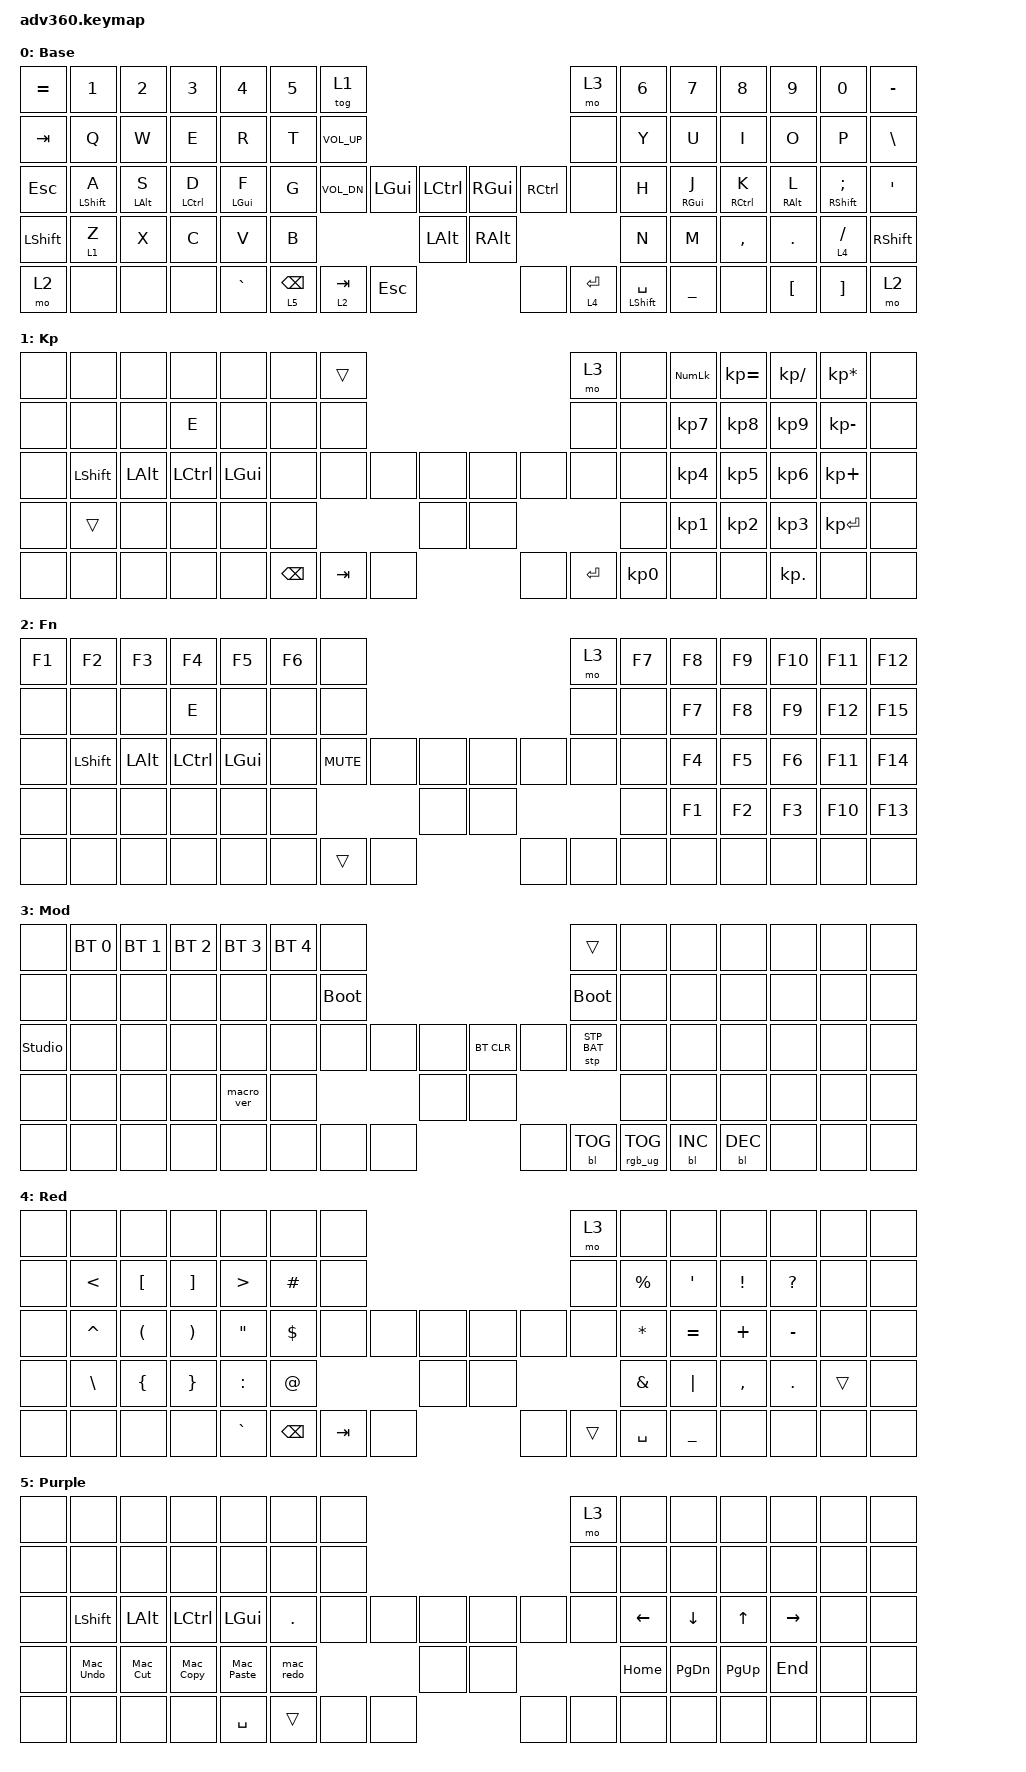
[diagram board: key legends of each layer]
#include <behaviors.dtsi>
#include <dt-bindings/zmk/keys.h>
#include <dt-bindings/zmk/bt.h>
#include <dt-bindings/zmk/rgb.h>
#include <dt-bindings/zmk/stp.h>
#include <dt-bindings/zmk/backlight.h>
#include <dt-bindings/zmk/pointing.h>
#include <dt-bindings/zmk/behaviors.h>

#define KEYS_L   0  1  2  3  4  5  6 \
                14 15 16 17 18 19 20 \
                28 29 30 31 32 33 34 \
                46 47 48 49 50 51    \
                60 61 62 63 64

#define THUMBS_L     35 36 \
                           52 \
                     65 66 67 \

#define KEYS_R   7  8  9 10 11 12 13 \
                21 22 23 24 25 26 27 \
                39 40 41 42 43 44 45 \
                   54 55 56 57 58 59 \
                      71 72 73 74 75

#define THUMBS_R 37 38    \
                     53       \
                     68 69 70 \

/ {
    behaviors {
      #include "macros.dtsi"
      #include "version.dtsi"

      hml: home_row_mod_left {
            compatible = "zmk,behavior-hold-tap";
            #binding-cells = <2>;
            flavor = "balanced";
            require-prior-idle-ms = <150>;  // orignally set to 300 from zmk docs
            tapping-term-ms = <280>;
            quick-tap-ms = <175>;
            bindings = <&kp>, <&kp>;
            hold-trigger-key-positions = <KEYS_R THUMBS_L THUMBS_R>; // List of keys on the right side of the keyboard
            hold-trigger-on-release;
        };
        hmr: home_row_mod_right {
            compatible = "zmk,behavior-hold-tap";
            #binding-cells = <2>;
            flavor = "balanced";
            require-prior-idle-ms = <150>;  // orignally set to 300 from zmk docs
            tapping-term-ms = <280>;
            quick-tap-ms = <175>;
            bindings = <&kp>, <&kp>;
            hold-trigger-key-positions = <KEYS_L THUMBS_L THUMBS_R>; // List of keys on the left side of the keyboard
            hold-trigger-on-release;
        };

      hm: homerow_mods {
          compatible = "zmk,behavior-hold-tap";
          label = "HOMEROW_MODS";
          #binding-cells = <2>;
          tapping-term-ms = <200>;
          quick_tap_ms = <175>;
          flavor = "tap-preferred";
          bindings = <&kp>, <&kp>;
      };

      bspc_del: backspace_delete {
          compatible = "zmk,behavior-mod-morph";
          label = "BACKSPACE_DELETE";
          #binding-cells = <0>;
          bindings = <&kp BACKSPACE>, <&kp DELETE>;
          mods = <(MOD_LSFT|MOD_RSFT)>;
      };

      /* How to stack mod-morph and layer-tap: https://www.reddit.com/r/zmk/comments/12ujlmb/combing_modmorph_and_layer_tap/ */
      /* not using at the moment since shift backspace was annoying me */
      lt_bspc: layer_tap_bspc_del {
          compatible = "zmk,behavior-hold-tap";
          label = "LAYER_TAP_BACKSPACE_DELETE";
          #binding-cells = <2>;
          bindings = <&mo>, <&bspc_del>;
          tapping-term-ms = <200>;
      };

      qt_lt: quick_tap_layer_tap {
          compatible = "zmk,behavior-hold-tap";
          #binding-cells = <2>;
          flavor = "balanced";
          tapping-term-ms = <200>;
          quick-tap-ms = <300>;
          bindings = <&mo>, <&kp>;
          display-name = "Quick-Tap-Layer-Tap";
      };

      /*mac_copy: mac_copy {
          compatible = "zmk,behavior-macro";
          label = "MAC_COPY";
          #binding-cells = <0>;
          bindings = <&kp LG(C)>;
      };
      mac_paste: mac_paste {
          compatible = "zmk,behavior-macro";
          label = "MAC_PASTE";
          #binding-cells = <0>;
          bindings = <&kp LG(V)>;
      };
      mac_cut: mac_cut {
          compatible = "zmk,behavior-macro";
          label = "MAC_CUT";
          #binding-cells = <0>;
          bindings = <&kp LG(X)>;
      };
      mac_undo: mac_undo {
          compatible = "zmk,behavior-macro";
          label = "MAC_UNDO";
          #binding-cells = <0>;
          bindings = <&kp LG(Z)>;
      };*/
      mac_redo: mac_redo {
          compatible = "zmk,behavior-macro";
          label = "MAC_REDO";
          #binding-cells = <0>;
          bindings = <&kp LS(LG(Z))>;
      };
    };

  combos {
    compatible = "zmk,combos";
    combo_esc {
        timeout-ms = <50>;
        key-positions = <65 70>;
        bindings = <&kp ESC>;
    };
    combo_capsword {
        timeout-ms = <50>;
        key-positions = <29 44>;
        bindings = <&caps_word>;
    };
  };

  /* TODO: capsword*/
  keymap {
    compatible = "zmk,keymap";

    default_layer {
      display-name = "Base";

      bindings = <
        &kp EQUAL &kp N1        &kp N2      &kp N3       &kp N4      &kp N5 &tog 1                                                                                &mo 3 &kp N6 &kp N7      &kp N8       &kp N9      &kp N0           &kp MINUS
        &kp TAB   &kp Q         &kp W       &kp E        &kp R       &kp T  &kp C_VOL_UP                                                                          &none &kp Y  &kp U       &kp I        &kp O       &kp P            &kp BSLH
        &kp ESC   &hml LSHIFT A &hml LALT S &hml LCTRL D &hml LGUI F &kp G  &kp C_VOL_DN               &kp LGUI  &kp LCTRL &kp RGUI  &kp RCTRL                    &none &kp H  &hmr RGUI J &hmr RCTRL K &hmr RALT L &hmr RSHIFT SEMI &kp SQT
        &kp LSHFT &lt 1 Z       &kp X       &kp C        &kp V       &kp B                                       &kp LALT  &kp RALT                                     &kp N  &kp M       &kp COMMA    &kp DOT     &lt 4 FSLH       &kp RSHFT
        &mo 2     &none         &none       &none        &kp GRAVE                       &qt_lt 5 BSPC &lt 2 TAB &kp ESC   &none     &lt 4 ENTER &mt LSHIFT SPACE              &kp UNDER   &none        &kp LBKT    &kp RBKT         &mo 2
      >;

    };
    keypad { /* 1 */
      display-name = "Kp";
      bindings = <
        &none &none      &none    &none     &none    &none &trans                                                  &mo 3 &none &kp KP_NUM &kp KP_EQUAL &kp KP_DIVIDE &kp KP_MULTIPLY &none    
        &none &none      &none    &kp E     &none    &none &none                                                   &none &none &kp KP_N7  &kp KP_N8    &kp KP_N9     &kp KP_MINUS    &none   
        &none &kp LSHIFT &kp LALT &kp LCTRL &kp LGUI &none &none           &none   &none &none &none               &none &none &kp KP_N4  &kp KP_N5    &kp KP_N6     &kp KP_PLUS     &none  
        &none &trans     &none    &none     &none    &none                         &none &none                           &none &kp KP_N1  &kp KP_N2    &kp KP_N3     &kp KP_ENTER    &none    
        &none &none      &none    &none     &none              &kp BSPC &kp TAB &none &none &kp ENTER &kp KP_N0                &none      &none        &kp KP_DOT    &none           &none
      >;
    };
    fn { /* 2 */
      display-name = "Fn";
      bindings = <
        &kp F1 &kp F2     &kp F3   &kp F4    &kp F5   &kp F6 &none                                           &mo 3 &kp F7 &kp F8 &kp F9 &kp F10 &kp F11 &kp F12
        &none  &none      &none    &kp E     &none    &none  &none                                           &none &none  &kp F7 &kp F8 &kp F9  &kp F12 &kp F15
        &none  &kp LSHIFT &kp LALT &kp LCTRL &kp LGUI &none  &kp C_MUTE       &none  &none &none &none       &none &none  &kp F4 &kp F5 &kp F6  &kp F11 &kp F14
        &none  &none      &none    &none     &none    &none                          &none &none                   &none  &kp F1 &kp F2 &kp F3  &kp F10 &kp F13
        &none  &none      &none    &none     &none                      &none &trans &none &none &none &none              &none  &none  &none   &none   &none
      >;
    };
    mod { /* 3 */
      display-name = "Mod";
      bindings = <
        &none          &bt BT_SEL 0 &bt BT_SEL 1 &bt BT_SEL 2 &bt BT_SEL 3 &bt BT_SEL 4 &none                                                               &trans       &none        &none        &none        &none &none &none
        &none          &none        &none        &none        &none        &none        &bootloader                                                         &bootloader  &none        &none        &none        &none &none &none
        &studio_unlock &none        &none        &none        &none        &none        &none             &none &none &bt BT_CLR &none                      &stp STP_BAT &none        &none        &none        &none &none &none
        &none          &none        &none        &none        &macro_ver   &none                                &none &none                                              &none        &none        &none        &none &none &none
        &none          &none        &none        &none        &none                                 &none &none &none &none      &bl BL_TOG &rgb_ug RGB_TOG                           &bl BL_INC   &bl BL_DEC   &none &none &none
      >;
    };

    symbol {  /* 4 */
      display-name = "Red";    
      bindings = <
        &none &none      &none    &none    &none     &none    &none                                              &mo 3 &none     &none     &none     &none     &none     &none
        &none &kp LT     &kp LBKT &kp RBKT &kp GT    &kp HASH &none                                              &none &kp PRCNT &kp SQT   &kp EXCL  &kp QMARK &none     &none
        &none &kp CARET  &kp LPAR &kp RPAR &kp DQT   &kp DLLR &none              &none &none &none &none         &none &kp STAR  &kp EQUAL &kp PLUS  &kp MINUS &none     &none
        &none &kp BSLH   &kp LBRC &kp RBRC &kp COLON &kp AT                            &none &none                     &kp AMPS  &kp PIPE  &kp COMMA &kp DOT   &trans    &none
        &none &none      &none    &none    &kp GRAVE                  &kp BSPC &kp TAB &none &none &trans &kp SPACE              &kp UNDER &none     &none     &none     &none
      >;
    };

    button {  /* 5 */
      display-name = "Purple";    
      bindings = <
        &none &none      &none    &none     &none      &none     &none                                        &mo 3 &none    &none     &none     &none     &none &none
        &none &none      &none    &none     &none      &none     &none                                        &none &none    &none     &none     &none     &none &none
        &none &kp LSHIFT &kp LALT &kp LCTRL &kp LGUI   &kp DOT   &none        &none &none &none &none         &none &kp LEFT &kp DOWN  &kp UP    &kp RIGHT &none &none
        &none &Mac_Undo  &Mac_Cut &Mac_Copy &Mac_Paste &mac_redo                    &none &none                     &kp HOME &kp PG_DN &kp PG_UP &kp END   &none &none
        &none &none      &none    &none     &kp SPACE                  &trans &none &none &none &none &none                  &none     &none     &none     &none &none
      >;
    };

    extra3 { 
      display-name = "Cyan";    
      status = "reserved";
      /*bindings = <
        &none &none &none &none &none &none &none                                       &mo 3 &none &none &none &none &none &none
        &none &none &none &none &none &none &none                                       &none &none &none &none &none &none &none
        &none &none &none &none &none &none &none       &none &none &none &none         &none &none &none &none &none &none &none
        &none &none &none &none &none &none                   &none &none                     &none &none &none &none &none &none
        &none &none &none &none &none             &none &none &none &none &none &none               &none &none &none &none &none
      >;*/
    };

    extra4 { 
      display-name = "Yellow";    
      status = "reserved";
      /*bindings = <
        &none &none &none &none &none &none &none                                       &mo 3 &none &none &none &none &none &none
        &none &none &none &none &none &none &none                                       &none &none &none &none &none &none &none
        &none &none &none &none &none &none &none       &none &none &none &none         &none &none &none &none &none &none &none
        &none &none &none &none &none &none                   &none &none                     &none &none &none &none &none &none
        &none &none &none &none &none             &none &none &none &none &none &none               &none &none &none &none &none
      >;*/
    };
  };
};
